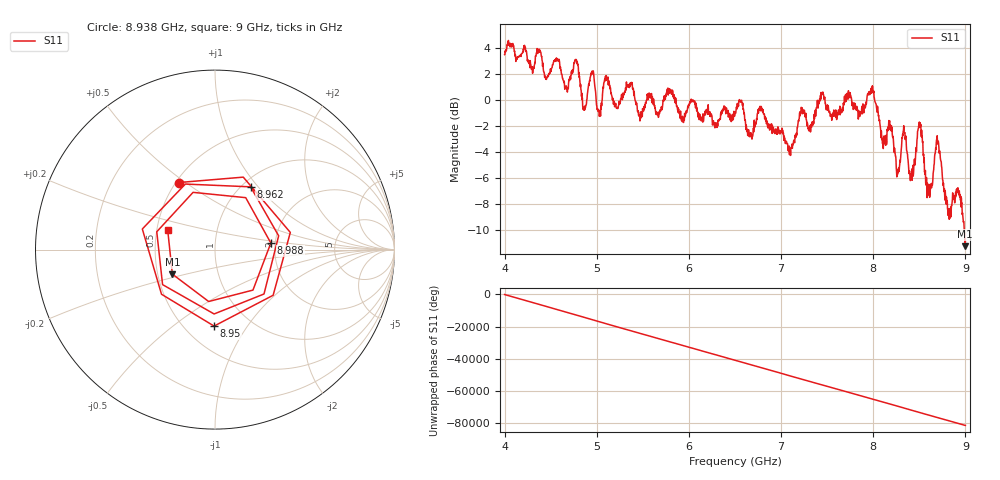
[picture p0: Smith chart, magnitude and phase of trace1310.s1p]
! Created with skrf 1.8.0 (http://scikit-rf.org).
# Hz S RI R 50.0
!freq ReS11 ImS11
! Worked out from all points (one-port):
!   1601 points, 4 GHz to 9 GHz, reference 50 ohm
!   lowest |S11| = -11.2 dB at 8.997 GHz (marker M1), VSWR 1.75, Z = 29.8 - j8.82 ohm
!   |S11| at or under -10 dB: 8.987464 GHz to end of sweep
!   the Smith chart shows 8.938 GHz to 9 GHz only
!   S11 on the Smith chart (normalised r, x): 8.938 GHz: 0.52, +0.47; 8.95 GHz: 0.69, -0.72; 8.962 GHz: 1.10, +0.91; 8.988 GHz: 1.90, +0.15; 9 GHz: 0.57, +0.14
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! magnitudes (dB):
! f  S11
! 4 GHz  3.5
! 4.625 GHz  1.8
! 4.775 GHz  3.1
! 4.866 GHz  -0.5
! 4.947 GHz  2.2
! 5.022 GHz  -0.9
! 5.103 GHz  1.9
! 5.25 GHz  -0.3
! 5.875 GHz  -0.6
! 6.5 GHz  -0.9
! 7.125 GHz  -3.5
! 7.225 GHz  -0.7
! 7.75 GHz  0.6
! 7.988 GHz  0.7
! 8.262 GHz  -5.7
! 8.331 GHz  -2.0
! 8.375 GHz  -4.5
! 8.428 GHz  -5.8
! 8.506 GHz  -1.9
! 8.594 GHz  -6.8
! 8.7 GHz  -3.3
! 8.812 GHz  -8.9
! 8.938 GHz  -7.5
! 8.95 GHz  -7.4
! 8.962 GHz  -7.9
! 8.988 GHz  -10.1
! 8.997 GHz  -11.2
! 9 GHz  -10.9
